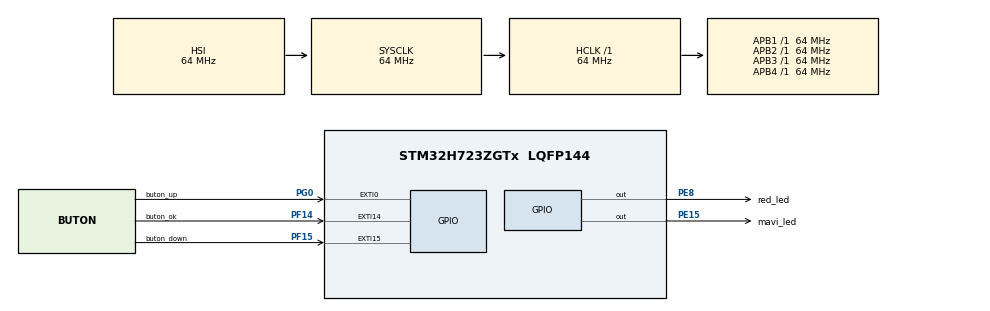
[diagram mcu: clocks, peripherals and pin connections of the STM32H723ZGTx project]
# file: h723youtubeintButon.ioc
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CORTEX_M7.default_mode_Activation=1
Mcu.Family=STM32H7
Mcu.Name=STM32H723ZGTx
Mcu.Package=LQFP144
NVIC.EXTI0_IRQn=true\:0\:0\:false\:false\:true\:true\:true\:true
NVIC.EXTI15_10_IRQn=true\:0\:0\:false\:false\:true\:true\:true\:true
NVIC.PriorityGroup=NVIC_PRIORITYGROUP_4
PE15.GPIO_Label=mavi_led
PE15.Signal=GPIO_Output
PE8.GPIO_Label=red_led
PE8.Signal=GPIO_Output
PF14.GPIO_Label=buton_ok
PF14.GPIO_ModeDefaultEXTI=GPIO_MODE_IT_FALLING
PF14.Signal=GPXTI14
PF15.GPIO_Label=buton_down
PF15.GPIO_ModeDefaultEXTI=GPIO_MODE_IT_FALLING
PF15.Signal=GPXTI15
PG0.GPIO_Label=buton_up
PG0.GPIO_ModeDefaultEXTI=GPIO_MODE_IT_FALLING
PG0.Signal=GPXTI0
PH0-OSC_IN.Mode=HSE-External-Oscillator
PH0-OSC_IN.Signal=RCC_OSC_IN
PH1-OSC_OUT.Mode=HSE-External-Oscillator
PH1-OSC_OUT.Signal=RCC_OSC_OUT
ProjectManager.HeapSize=0x200
ProjectManager.StackSize=0x400
ProjectManager.TargetToolchain=STM32CubeIDE
RCC.ADCFreq_Value=129000000
RCC.APB1Freq_Value=64000000
RCC.APB2Freq_Value=64000000
RCC.APB3Freq_Value=64000000
RCC.APB4Freq_Value=64000000
RCC.CortexFreq_Value=64000000
RCC.HCLKFreq_Value=64000000
RCC.SYSCLKFreq_VALUE=64000000
RCC.USBFreq_Value=129000000
VP_MEMORYMAP_VS_MEMORYMAP.Mode=CurAppReg
board=custom

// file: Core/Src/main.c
/* USER CODE BEGIN Header */
/**
  ******************************************************************************
  * @file           : main.c
  * @brief          : Main program body
  ******************************************************************************
  * @attention
  *
  * Copyright (c) 2025 STMicroelectronics.
  * All rights reserved.
  *
  * This software is licensed under terms that can be found in the LICENSE file
  * in the root directory of this software component.
  * If no LICENSE file comes with this software, it is provided AS-IS.
  *
  ******************************************************************************
  */
/* USER CODE END Header */
#include "main.h"

/* USER CODE BEGIN Includes */
#define LED_MAVi mavi_led_GPIO_Port, mavi_led_Pin
#define LED_RED red_led_GPIO_Port, red_led_Pin
/* USER CODE END Includes */

void SystemClock_Config(void);
static void MPU_Config(void);
static void MX_GPIO_Init(void);

int main(void)
{

  /* MPU Configuration--------------------------------------------------------*/
  MPU_Config();

  /* MCU Configuration--------------------------------------------------------*/

  /* Reset of all peripherals, Initializes the Flash interface and the Systick. */
  HAL_Init();

  /* Configure the system clock */
  SystemClock_Config();

  /* Initialize all configured peripherals */
  MX_GPIO_Init();

  /* Infinite loop */
  while (1)
  {

  }
}

void SystemClock_Config(void)
{
  RCC_OscInitTypeDef RCC_OscInitStruct = {0};
  RCC_ClkInitTypeDef RCC_ClkInitStruct = {0};

  /** Supply configuration update enable
  */
  HAL_PWREx_ConfigSupply(PWR_LDO_SUPPLY);

  /** Configure the main internal regulator output voltage
  */
  __HAL_PWR_VOLTAGESCALING_CONFIG(PWR_REGULATOR_VOLTAGE_SCALE3);

  while(!__HAL_PWR_GET_FLAG(PWR_FLAG_VOSRDY)) {}

  /** Initializes the RCC Oscillators according to the specified parameters
  * in the RCC_OscInitTypeDef structure.
  */
  RCC_OscInitStruct.OscillatorType = RCC_OSCILLATORTYPE_HSI;
  RCC_OscInitStruct.HSIState = RCC_HSI_DIV1;
  RCC_OscInitStruct.HSICalibrationValue = 64;
  RCC_OscInitStruct.PLL.PLLState = RCC_PLL_NONE;
  if (HAL_RCC_OscConfig(&RCC_OscInitStruct) != HAL_OK)
  {
    Error_Handler();
  }

  /** Initializes the CPU, AHB and APB buses clocks
  */
  RCC_ClkInitStruct.ClockType = RCC_CLOCKTYPE_HCLK|RCC_CLOCKTYPE_SYSCLK
                              |RCC_CLOCKTYPE_PCLK1|RCC_CLOCKTYPE_PCLK2
                              |RCC_CLOCKTYPE_D3PCLK1|RCC_CLOCKTYPE_D1PCLK1;
  RCC_ClkInitStruct.SYSCLKSource = RCC_SYSCLKSOURCE_HSI;
  RCC_ClkInitStruct.SYSCLKDivider = RCC_SYSCLK_DIV1;
  RCC_ClkInitStruct.AHBCLKDivider = RCC_HCLK_DIV1;
  RCC_ClkInitStruct.APB3CLKDivider = RCC_APB3_DIV1;
  RCC_ClkInitStruct.APB1CLKDivider = RCC_APB1_DIV1;
  RCC_ClkInitStruct.APB2CLKDivider = RCC_APB2_DIV1;
  RCC_ClkInitStruct.APB4CLKDivider = RCC_APB4_DIV1;

  if (HAL_RCC_ClockConfig(&RCC_ClkInitStruct, FLASH_LATENCY_1) != HAL_OK)
  {
    Error_Handler();
  }
}

static void MX_GPIO_Init(void)
{
  GPIO_InitTypeDef GPIO_InitStruct = {0};

  /* GPIO Ports Clock Enable */
  __HAL_RCC_GPIOH_CLK_ENABLE();
  __HAL_RCC_GPIOF_CLK_ENABLE();
  __HAL_RCC_GPIOG_CLK_ENABLE();
  __HAL_RCC_GPIOE_CLK_ENABLE();

  /*Configure GPIO pin Output Level */
  HAL_GPIO_WritePin(GPIOE, red_led_Pin|mavi_led_Pin, GPIO_PIN_RESET);

  /*Configure GPIO pins : buton_ok_Pin buton_down_Pin */
  GPIO_InitStruct.Pin = buton_ok_Pin|buton_down_Pin;
  GPIO_InitStruct.Mode = GPIO_MODE_IT_FALLING;
  GPIO_InitStruct.Pull = GPIO_NOPULL;
  HAL_GPIO_Init(GPIOF, &GPIO_InitStruct);

  /*Configure GPIO pin : buton_up_Pin */
  GPIO_InitStruct.Pin = buton_up_Pin;
  GPIO_InitStruct.Mode = GPIO_MODE_IT_FALLING;
  GPIO_InitStruct.Pull = GPIO_NOPULL;
  HAL_GPIO_Init(buton_up_GPIO_Port, &GPIO_InitStruct);

  /*Configure GPIO pins : red_led_Pin mavi_led_Pin */
  GPIO_InitStruct.Pin = red_led_Pin|mavi_led_Pin;
  GPIO_InitStruct.Mode = GPIO_MODE_OUTPUT_PP;
  GPIO_InitStruct.Pull = GPIO_NOPULL;
  GPIO_InitStruct.Speed = GPIO_SPEED_FREQ_LOW;
  HAL_GPIO_Init(GPIOE, &GPIO_InitStruct);

  /* EXTI interrupt init*/
  HAL_NVIC_SetPriority(buton_up_EXTI_IRQn, 0, 0);
  HAL_NVIC_EnableIRQ(buton_up_EXTI_IRQn);

  HAL_NVIC_SetPriority(buton_ok_EXTI_IRQn, 0, 0);
  HAL_NVIC_EnableIRQ(buton_ok_EXTI_IRQn);

}

/* USER CODE BEGIN 4 */
void HAL_GPIO_EXTI_Callback(uint16_t GPIO_Pin)
{
  // Hangi pin'in interrupt'ı tetiklediğini kontrol et
  switch (GPIO_Pin)
  {
    case buton_up_Pin:
      // UP butonuna basıldı, mavi LED'i toggle yap.
      HAL_GPIO_TogglePin(LED_MAVi);
      break;

    case buton_down_Pin:
      // DOWN butonuna basıldı, kırmızı LED'i toggle yap.
      HAL_GPIO_TogglePin(LED_RED);
      break;

    case buton_ok_Pin:
      // OK butonuna basıldı, her iki LED'i de toggle yap.
      HAL_GPIO_TogglePin(mavi_led_GPIO_Port, mavi_led_Pin);
      HAL_GPIO_TogglePin(red_led_GPIO_Port, red_led_Pin);
      break;

    default:
      // Beklenmeyen bir interrupt pin'i. Bir şey yapma.
      break;
  }
}

/* USER CODE END 4 */

 /* MPU Configuration */

void MPU_Config(void)
{
  MPU_Region_InitTypeDef MPU_InitStruct = {0};

  /* Disables the MPU */
  HAL_MPU_Disable();

  /** Initializes and configures the Region and the memory to be protected
  */
  MPU_InitStruct.Enable = MPU_REGION_ENABLE;
  MPU_InitStruct.Number = MPU_REGION_NUMBER0;
  MPU_InitStruct.BaseAddress = 0x0;
  MPU_InitStruct.Size = MPU_REGION_SIZE_4GB;
  MPU_InitStruct.SubRegionDisable = 0x87;
  MPU_InitStruct.TypeExtField = MPU_TEX_LEVEL0;
  MPU_InitStruct.AccessPermission = MPU_REGION_NO_ACCESS;
  MPU_InitStruct.DisableExec = MPU_INSTRUCTION_ACCESS_DISABLE;
  MPU_InitStruct.IsShareable = MPU_ACCESS_SHAREABLE;
  MPU_InitStruct.IsCacheable = MPU_ACCESS_NOT_CACHEABLE;
  MPU_InitStruct.IsBufferable = MPU_ACCESS_NOT_BUFFERABLE;

  HAL_MPU_ConfigRegion(&MPU_InitStruct);
  /* Enables the MPU */
  HAL_MPU_Enable(MPU_PRIVILEGED_DEFAULT);

}

void Error_Handler(void)
{
  __disable_irq();
  while (1)
  {
  }
}
